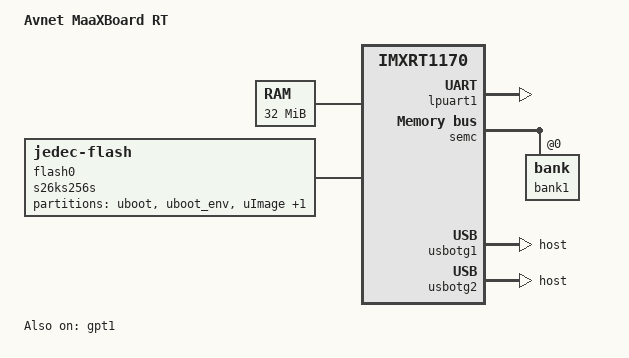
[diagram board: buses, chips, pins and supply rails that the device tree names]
// SPDX-License-Identifier: (GPL-2.0+ OR BSD-3-Clause)
/*
 * Copyright (C) 2025 Emcraft Systems
 */

/dts-v1/;
#include "imxrt1170.dtsi"
#include "maaxboard-rt-u-boot.dtsi"
#include "imxrt1170-pinfunc.h"

/ {
	model = "Avnet MaaXBoard RT";
	compatible = "avnet,maaxboard-rt", "fsl,imxrt1170";

	chosen {
		stdout-path = "serial0:115200n8";
		tick-timer = &gpt1;
	};

	memory {
		#address-cells = <1>;
		#size-cells = <1>;
		device_type = "memory";
		reg = <0x80000000 0x02000000>;
	};

	flash0: s26ks256s@0 {
		#address-cells = <1>;
		#size-cells = <1>;
		reg = <0x30000000 0x02000000>;
		compatible = "jedec-flash";
		bank-width = <0x2>;
		status = "okay";

		partition@0 {
			label = "uboot";
			reg = <0x0 0x80000>;
		};

		partition@1 {
			label = "uboot_env";
			reg = <0x80000 0x80000>;
		};

		partition@2 {
			label = "uImage";
			reg = <0x100000 0x00d00000>;
		};

		partition@3 {
			label = "rootfs";
			reg = <0xe00000 0x01200000>;
		};
	};
};

&lpuart1 { /* console */
	pinctrl-names = "default";
	pinctrl-0 = <&pinctrl_lpuart1>;
	status = "okay";
};

&semc {
	assigned-clocks = <&clks IMXRT1170_CLK_PLL3_PFD0>, <&clks IMXRT1170_CLK_ROOT_SEMC>;
	assigned-clock-parents = <&clks IMXRT1170_CLK_PLL3>, <&clks IMXRT1170_CLK_PLL3_PFD0>;
	assigned-clock-rates = <480000000>, <160000000>;

	/*
	 * Memory configuration from sdram datasheet IS42S16160J-6BLI
	 */
	fsl,sdram-mux = /bits/ 8 <0
				0
				0
				0
				0
				0>;
	fsl,sdram-control = /bits/ 8 <MEM_WIDTH_16BITS
					BL_8
					COL_9BITS
					CL_3>;
	fsl,sdram-timing = /bits/ 8 <0x2
				     0x2
				     0xA
				     0x1
				     0x7
				     0x7

				     0x0D
				     0x0A
				     0x01
				     0x00

				     0x04
				     0x04
				     0x21
				     0x21>;

	bank1: bank@0 {
		fsl,base-address = <0x80000000>;
		fsl,memory-size = <MEM_SIZE_32M>;
		bootph-pre-ram;
	};
};

&iomuxc {
	pinctrl-names = "default";
	pinctrl-0 = <&pinctrl_lpuart1>;

	maaxboard-rt {
		pinctrl_lpuart1: lpuart1grp {
			fsl,pins = <
				IOMUXC_GPIO_AD_24_LPUART1_TXD (MXRT1170_PAD_DSE | MXRT1170_PAD_PUE)
				IOMUXC_GPIO_AD_25_LPUART1_RXD (MXRT1170_PAD_DSE | MXRT1170_PAD_PUE)
			>;
		};

		pinctrl_semc: semcgrp {
			fsl,pins = <
				IOMUXC_GPIO_EMC_B1_00_SEMC_DATA00
					8	/* SEMC_D0 */
				IOMUXC_GPIO_EMC_B1_01_SEMC_DATA01
					8	/* SEMC_D1 */
				IOMUXC_GPIO_EMC_B1_02_SEMC_DATA02
					8	/* SEMC_D2 */
				IOMUXC_GPIO_EMC_B1_03_SEMC_DATA03
					8	/* SEMC_D3 */
				IOMUXC_GPIO_EMC_B1_04_SEMC_DATA04
					8	/* SEMC_D4 */
				IOMUXC_GPIO_EMC_B1_05_SEMC_DATA05
					8	/* SEMC_D5 */
				IOMUXC_GPIO_EMC_B1_06_SEMC_DATA06
					8	/* SEMC_D6 */
				IOMUXC_GPIO_EMC_B1_07_SEMC_DATA07
					8	/* SEMC_D7 */
				IOMUXC_GPIO_EMC_B1_08_SEMC_DM00
					8	/* SEMC_DM0 */
				IOMUXC_GPIO_EMC_B1_09_SEMC_ADDR00
					8	/* SEMC_A0 */
				IOMUXC_GPIO_EMC_B1_10_SEMC_ADDR01
					8	/* SEMC_A1 */
				IOMUXC_GPIO_EMC_B1_11_SEMC_ADDR02
					8	/* SEMC_A2 */
				IOMUXC_GPIO_EMC_B1_12_SEMC_ADDR03
					8	/* SEMC_A3 */
				IOMUXC_GPIO_EMC_B1_13_SEMC_ADDR04
					8	/* SEMC_A4 */
				IOMUXC_GPIO_EMC_B1_14_SEMC_ADDR05
					8	/* SEMC_A5 */
				IOMUXC_GPIO_EMC_B1_15_SEMC_ADDR06
					8	/* SEMC_A6 */
				IOMUXC_GPIO_EMC_B1_16_SEMC_ADDR07
					8	/* SEMC_A7 */
				IOMUXC_GPIO_EMC_B1_17_SEMC_ADDR08
					8	/* SEMC_A8 */
				IOMUXC_GPIO_EMC_B1_18_SEMC_ADDR09
					8	/* SEMC_A9 */
				IOMUXC_GPIO_EMC_B1_19_SEMC_ADDR11
					8	/* SEMC_A11 */
				IOMUXC_GPIO_EMC_B1_20_SEMC_ADDR12
					8	/* SEMC_A12 */
				IOMUXC_GPIO_EMC_B1_21_SEMC_BA0
					8	/* SEMC_BA0 */
				IOMUXC_GPIO_EMC_B1_22_SEMC_BA1
					8	/* SEMC_BA1 */
				IOMUXC_GPIO_EMC_B1_23_SEMC_ADDR10
					8	/* SEMC_A10 */
				IOMUXC_GPIO_EMC_B1_24_SEMC_CAS
					8	/* SEMC_CAS */
				IOMUXC_GPIO_EMC_B1_25_SEMC_RAS
					8	/* SEMC_RAS */
				IOMUXC_GPIO_EMC_B1_26_SEMC_CLK
					8	/* SEMC_CLK */
				IOMUXC_GPIO_EMC_B1_27_SEMC_CKE
					8	/* SEMC_CKE */
				IOMUXC_GPIO_EMC_B1_28_SEMC_WE
					8	/* SEMC_WE */
				IOMUXC_GPIO_EMC_B1_29_SEMC_CS0
					8	/* SEMC_CS0 */
				IOMUXC_GPIO_EMC_B1_30_SEMC_DATA08
					8	/* SEMC_D8 */
				IOMUXC_GPIO_EMC_B1_31_SEMC_DATA09
					8	/* SEMC_D9 */
				IOMUXC_GPIO_EMC_B1_32_SEMC_DATA10
					8	/* SEMC_D10 */
				IOMUXC_GPIO_EMC_B1_33_SEMC_DATA11
					8	/* SEMC_D11 */
				IOMUXC_GPIO_EMC_B1_34_SEMC_DATA12
					8	/* SEMC_D12 */
				IOMUXC_GPIO_EMC_B1_35_SEMC_DATA13
					8	/* SEMC_D13 */
				IOMUXC_GPIO_EMC_B1_36_SEMC_DATA14
					8	/* SEMC_D14 */
				IOMUXC_GPIO_EMC_B1_37_SEMC_DATA15
					8	/* SEMC_D15 */
				IOMUXC_GPIO_EMC_B1_38_SEMC_DM01
					8	/* SEMC_DM01 */
				IOMUXC_GPIO_EMC_B1_39_SEMC_DQS
					(IMX_PAD_SION | 8)	/* SEMC_DQS */
			>;
		};


		pinctrl_flexspi1: flexspi1grp {
			fsl,pins = <
				IOMUXC_GPIO_SD_B2_00_FLEXSPI1_B_DATA03	(0x0c)
				IOMUXC_GPIO_SD_B2_01_FLEXSPI1_B_DATA02	(0x0c)
				IOMUXC_GPIO_SD_B2_02_FLEXSPI1_B_DATA01	(0x0c)
				IOMUXC_GPIO_SD_B2_03_FLEXSPI1_B_DATA00	(0x0c)
				IOMUXC_GPIO_SD_B2_04_FLEXSPI1_B_SCLK	(IMX_PAD_SION | 0x0c)
				IOMUXC_GPIO_SD_B2_05_FLEXSPI1_A_DQS	(IMX_PAD_SION | 0x08)
				IOMUXC_GPIO_SD_B2_06_FLEXSPI1_A_SS0_B	(0x0c)
				IOMUXC_GPIO_SD_B2_07_FLEXSPI1_A_SCLK	(IMX_PAD_SION | 0x0c)
				IOMUXC_GPIO_SD_B2_08_FLEXSPI1_A_DATA00	(0x0c)
				IOMUXC_GPIO_SD_B2_09_FLEXSPI1_A_DATA01	(0x0c)
				IOMUXC_GPIO_SD_B2_10_FLEXSPI1_A_DATA02	(0x0c)
				IOMUXC_GPIO_SD_B2_11_FLEXSPI1_A_DATA03	(0x0c)
			>;
		};
	};
};

&gpt1 {
	status = "okay";
};

&usbotg1 {
	dr_mode = "host";
	status = "okay";
};

&usbotg2 {
	dr_mode = "host";
	status = "okay";
};
